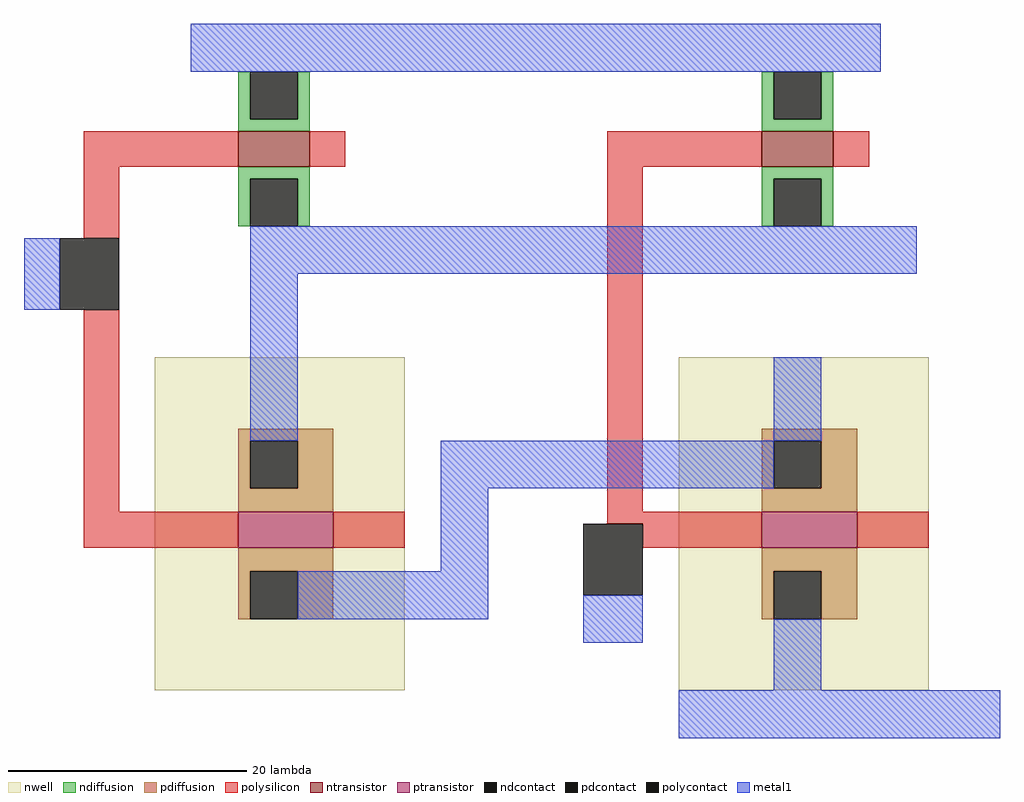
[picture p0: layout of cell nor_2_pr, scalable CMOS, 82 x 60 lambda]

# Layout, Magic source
magic
tech scmos
<< nwell >>
rect -19 -35 2 -7
rect 25 -35 46 -7
<< ntransistor >>
rect -12 9 -6 12
rect 32 9 38 12
<< ptransistor >>
rect -12 -23 -4 -20
rect 32 -23 40 -20
<< ndiffusion >>
rect -12 13 -11 17
rect -7 13 -6 17
rect -12 12 -6 13
rect 32 13 33 17
rect 37 13 38 17
rect 32 12 38 13
rect -12 8 -6 9
rect -12 4 -11 8
rect -7 4 -6 8
rect 32 8 38 9
rect 32 4 33 8
rect 37 4 38 8
<< pdiffusion >>
rect -12 -14 -4 -13
rect -12 -18 -11 -14
rect -7 -18 -4 -14
rect -12 -20 -4 -18
rect 32 -14 40 -13
rect 32 -18 33 -14
rect 37 -18 40 -14
rect 32 -20 40 -18
rect -12 -25 -4 -23
rect -12 -29 -11 -25
rect -7 -29 -4 -25
rect 32 -25 40 -23
rect 32 -29 33 -25
rect 37 -29 40 -25
<< ndcontact >>
rect -11 13 -7 17
rect 33 13 37 17
rect -11 4 -7 8
rect 33 4 37 8
<< pdcontact >>
rect -11 -18 -7 -14
rect 33 -18 37 -14
rect -11 -29 -7 -25
rect 33 -29 37 -25
<< polysilicon >>
rect -25 9 -12 12
rect -6 9 -3 12
rect 19 9 32 12
rect 38 9 41 12
rect -25 3 -22 9
rect -25 -20 -22 -3
rect 19 -20 22 9
rect -25 -23 -12 -20
rect -4 -23 2 -20
rect 19 -21 32 -20
rect 22 -23 32 -21
rect 40 -23 46 -20
<< polycontact >>
rect -27 -3 -22 3
rect 17 -27 22 -21
<< metal1 >>
rect -16 17 42 21
rect -30 -3 -27 3
rect -11 0 45 4
rect -11 -14 -7 0
rect 33 -14 37 -7
rect 5 -18 33 -14
rect 5 -25 9 -18
rect -7 -29 9 -25
rect 17 -31 22 -27
rect 33 -35 37 -29
rect 25 -39 52 -35
<< end >>
